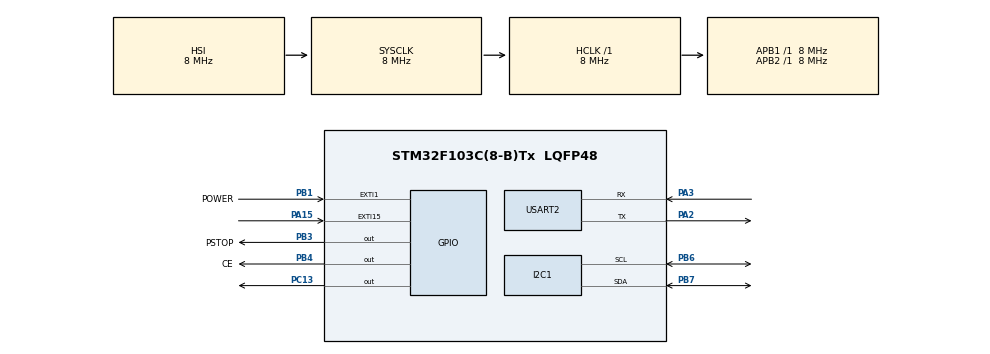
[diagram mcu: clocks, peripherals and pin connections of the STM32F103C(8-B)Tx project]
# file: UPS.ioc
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Mcu.Family=STM32F1
Mcu.Name=STM32F103C(8-B)Tx
Mcu.Package=LQFP48
NVIC.EXTI15_10_IRQn=true\:0\:0\:false\:false\:true\:true\:true\:true
NVIC.EXTI1_IRQn=true\:0\:0\:false\:false\:true\:true\:true\:true
NVIC.PriorityGroup=NVIC_PRIORITYGROUP_4
PA13.Mode=Serial_Wire
PA13.Signal=SYS_JTMS-SWDIO
PA14.Mode=Serial_Wire
PA14.Signal=SYS_JTCK-SWCLK
PA15.GPIO_ModeDefaultEXTI=GPIO_MODE_IT_RISING
PA15.GPIO_PuPd=GPIO_PULLDOWN
PA15.Signal=GPXTI15
PA2.Mode=Asynchronous
PA2.Signal=USART2_TX
PA3.Mode=Asynchronous
PA3.Signal=USART2_RX
PB1.GPIO_Label=POWER
PB1.GPIO_ModeDefaultEXTI=GPIO_MODE_IT_RISING_FALLING
PB1.Signal=GPXTI1
PB3.GPIO_Label=PSTOP
PB3.PinState=GPIO_PIN_SET
PB3.Signal=GPIO_Output
PB4.GPIO_Label=CE
PB4.Signal=GPIO_Output
PB6.Mode=I2C
PB6.Signal=I2C1_SCL
PB7.Mode=I2C
PB7.Signal=I2C1_SDA
PC13-TAMPER-RTC.PinState=GPIO_PIN_SET
PC13-TAMPER-RTC.Signal=GPIO_Output
ProjectManager.HeapSize=0x200
ProjectManager.StackSize=0x400
ProjectManager.TargetToolchain=MDK-ARM V5.32
RCC.AHBFreq_Value=8000000
RCC.APB1Freq_Value=8000000
RCC.APB1TimFreq_Value=8000000
RCC.APB2Freq_Value=8000000
RCC.APB2TimFreq_Value=8000000
RCC.HCLKFreq_Value=8000000
RCC.PLLMUL=RCC_PLL_MUL8
RCC.SYSCLKFreq_VALUE=8000000
RCC.USBFreq_Value=32000000
USART2.VirtualMode=VM_ASYNC
board=custom

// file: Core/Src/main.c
/* USER CODE BEGIN Header */
/**
  ******************************************************************************
  * @file           : main.c
  * @brief          : Main program body
  ******************************************************************************
  * @attention
  *
  * Copyright (c) 2025 STMicroelectronics.
  * All rights reserved.
  *
  * This software is licensed under terms that can be found in the LICENSE file
  * in the root directory of this software component.
  * If no LICENSE file comes with this software, it is provided AS-IS.
  *
  ******************************************************************************
  */
/* USER CODE END Header */
#include "main.h"
#include "i2c.h"
#include "usart.h"
#include "gpio.h"

/* USER CODE BEGIN Includes */
#include "SC8815.h"
#include "stm32f1xx_hal.h"
/* USER CODE END Includes */

/* USER CODE BEGIN PV */
		uint16_t VbusVolt;
    uint16_t VbusCurr;
    uint16_t BattVolt;
    uint16_t BattCurr;
		uint8_t ram[3];
		extern SC8815_InterruptStatusTypeDef SC8815_InterruptMaskInitStruct;
		uint8_t POWERIN_CHANGED=1;
		uint16_t count=0;
		uint8_t CHONGDIAN=1;
		uint16_t VLIM=4950;
/* USER CODE END PV */

void SystemClock_Config(void);
/* USER CODE BEGIN PFP */
void I2C_WriteRegByte(uint8_t SlaveAddress, uint8_t RegAddress, uint8_t ByteData){   //通过I2C向设备寄存器写一个字节

HAL_I2C_Mem_Write(&hi2c1, SlaveAddress, RegAddress, I2C_MEMADD_SIZE_8BIT, &ByteData, 1, 1000);
/* 第1个参数为I2C操作句柄
   第2个参数为从机设备地址
   第3个参数为从机寄存器地址
   第4个参数为从机寄存器地址长度
   第5个参数为发送的数据的起始地址
   第6个参数为传输数据的大小
   第7个参数为操作超时时间 　　*/

};
uint8_t I2C_ReadRegByte(uint8_t SlaveAddress, uint8_t RegAddress){                   //通过I2C从设备寄存器读一个字节
	uint8_t param;
	HAL_I2C_Mem_Read(&hi2c1, SlaveAddress, RegAddress, I2C_MEMADD_SIZE_8BIT, &param, 1, 1000);
	return param;
}

void SoftwareDelay(uint8_t ms){//软件延迟
	HAL_Delay(ms);
};
void HAL_GPIO_EXTI_Callback(uint16_t GPIO_Pin){
	if(GPIO_Pin==GPIO_PIN_1){
		//SC8815_OTG_Enable();
		HAL_GPIO_WritePin(GPIOC,GPIO_PIN_13,GPIO_PIN_SET);
		POWERIN_CHANGED=1;
	}else
	if(GPIO_Pin==GPIO_PIN_15){
    SC8815_ReadInterrupStatus(&SC8815_InterruptMaskInitStruct);     //MCU 收到 SC8815 中断后调用此函数读 SC8815 中断 (读中断状态后将清除中断状态位)
    if (SC8815_InterruptMaskInitStruct.AC_OK == 1)
    {
        // AC_OK 中断处理代码
    }
    else if (SC8815_InterruptMaskInitStruct.EOC == 1)
    {
        // EOC 中断处理代码
    }

}

}
/* USER CODE END PFP */

int main(void)
{

  /* MCU Configuration--------------------------------------------------------*/

  /* Reset of all peripherals, Initializes the Flash interface and the Systick. */
  HAL_Init();

  /* Configure the system clock */
  SystemClock_Config();

  /* Initialize all configured peripherals */
  MX_GPIO_Init();
  MX_I2C1_Init();
  MX_USART2_UART_Init();
  /* USER CODE BEGIN 2 */
	//HAL_GPIO_WritePin(GPIOC,GPIO_PIN_13,GPIO_PIN_RESET);
//  HAL_I2C_Init(&hi2c1);
//	HAL_I2C_Init(&hi2c2);
	SC8815_Init_Demo();
	ram[2]=0x93;
  /* USER CODE END 2 */

  /* Infinite loop */
  /* USER CODE BEGIN WHILE */
  while (1)
  {
		HAL_Delay(500);
		count++;
		if(POWERIN_CHANGED){
		HAL_Delay(500);//延时使得检测口稳定
			if(HAL_GPIO_ReadPin(POWER_GPIO_Port,POWER_Pin)==GPIO_PIN_SET){
				//SC8815_OTG_Disable();
				HAL_GPIO_WritePin(GPIOC,GPIO_PIN_13,GPIO_PIN_RESET);
				POWERIN_CHANGED=0;
			}

		}
     BattVolt = SC8815_Read_BATT_Voltage();
		ram[0] = (uint8_t)(BattVolt & 0xFF);
    ram[1] = (uint8_t)((BattVolt >> 8) & 0xFF);
		HAL_UART_Transmit(&huart2,ram,3,100);
//     BattCurr = SC8815_Read_BATT_Current();
    /* USER CODE END WHILE */

    /* USER CODE BEGIN 3 */

		if(BattVolt<0x3C00){
			CHONGDIAN=1;
		}else if(BattVolt>0x3DE0){
			CHONGDIAN=0;
		}
			if(count>1000){
				VLIM=CHONGDIAN?4950:5000;
				SC8815_OTG_Disable();
			SoftwareDelay(5);
			    SC8815_SetBatteryCurrLimit(2000);//VBAT限流
    SC8815_SetBusCurrentLimit(VLIM);//VBUS限流
    SC8815_VINREG_SetVoltage(16400);//VBAT电压,设置低一点
		SC8815_SetOutputVoltage(VLIM);//OUTPUT电压
		SC8815_PGATE_Enable();//打开OUTPUT与VBUS连接
		SC8815_GPO_Enable();//打开INPUT与VBUS连接
    SC8815_OTG_Enable();
				count=0;

	}
  }

  /* USER CODE END 3 */
}

void SystemClock_Config(void)
{
  RCC_OscInitTypeDef RCC_OscInitStruct = {0};
  RCC_ClkInitTypeDef RCC_ClkInitStruct = {0};

  /** Initializes the RCC Oscillators according to the specified parameters
  * in the RCC_OscInitTypeDef structure.
  */
  RCC_OscInitStruct.OscillatorType = RCC_OSCILLATORTYPE_HSI;
  RCC_OscInitStruct.HSIState = RCC_HSI_ON;
  RCC_OscInitStruct.HSICalibrationValue = RCC_HSICALIBRATION_DEFAULT;
  RCC_OscInitStruct.PLL.PLLState = RCC_PLL_NONE;
  if (HAL_RCC_OscConfig(&RCC_OscInitStruct) != HAL_OK)
  {
    Error_Handler();
  }

  /** Initializes the CPU, AHB and APB buses clocks
  */
  RCC_ClkInitStruct.ClockType = RCC_CLOCKTYPE_HCLK|RCC_CLOCKTYPE_SYSCLK
                              |RCC_CLOCKTYPE_PCLK1|RCC_CLOCKTYPE_PCLK2;
  RCC_ClkInitStruct.SYSCLKSource = RCC_SYSCLKSOURCE_HSI;
  RCC_ClkInitStruct.AHBCLKDivider = RCC_SYSCLK_DIV1;
  RCC_ClkInitStruct.APB1CLKDivider = RCC_HCLK_DIV1;
  RCC_ClkInitStruct.APB2CLKDivider = RCC_HCLK_DIV1;

  if (HAL_RCC_ClockConfig(&RCC_ClkInitStruct, FLASH_LATENCY_0) != HAL_OK)
  {
    Error_Handler();
  }
}

void Error_Handler(void)
{
  __disable_irq();
  while (1)
  {
  }
}
